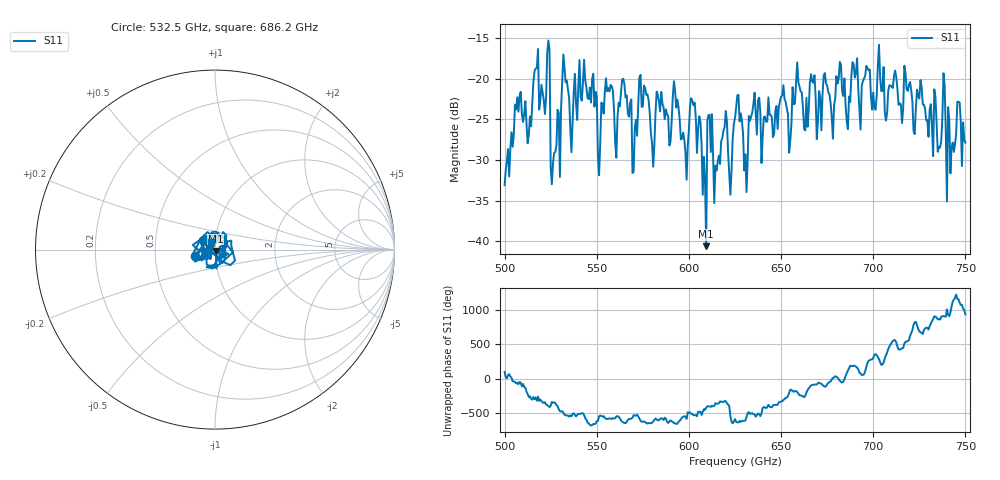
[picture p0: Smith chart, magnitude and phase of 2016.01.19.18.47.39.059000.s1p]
!Created with skrf (http://scikit-rf.org).
# GHz S RI R 50.0
!freq ReS11 ImS11
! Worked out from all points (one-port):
!   401 points, 500 GHz to 750 GHz, reference 50 ohm
!   lowest |S11| = -40.6 dB at 609.4 GHz (marker M1), VSWR 1.02, Z = 50.5 - j0.796 ohm
!   |S11| at or under -10 dB: start of sweep to end of sweep
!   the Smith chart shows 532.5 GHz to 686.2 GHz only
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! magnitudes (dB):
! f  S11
! 500 GHz  -33.1
! 507.5 GHz  -24.0
! 513.8 GHz  -24.6
! 516.9 GHz  -18.7
! 523.1 GHz  -16.8
! 526.2 GHz  -30.4
! 531.2 GHz  -20.3
! 548.8 GHz  -23.4
! 551.9 GHz  -28.0
! 555.6 GHz  -21.5
! 562.5 GHz  -23.4
! 570.6 GHz  -26.0
! 574.4 GHz  -23.5
! 580 GHz  -28.0
! 593.8 GHz  -22.6
! 601.9 GHz  -22.7
! 609.4 GHz  -40.6
! 611.2 GHz  -24.4
! 614.4 GHz  -30.7
! 619.4 GHz  -25.9
! 622.5 GHz  -34.3
! 625 GHz  -24.8
! 630.6 GHz  -29.3
! 635 GHz  -23.1
! 656.2 GHz  -21.0
! 687.5 GHz  -22.9
! 718.8 GHz  -21.5
! 750 GHz  -27.9
